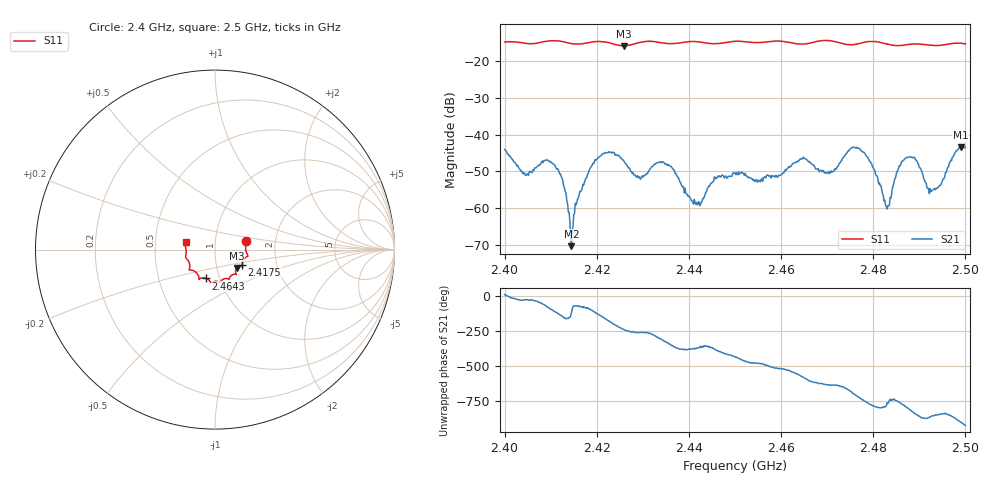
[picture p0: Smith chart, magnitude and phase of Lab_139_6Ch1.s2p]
# Hz S RI R 50
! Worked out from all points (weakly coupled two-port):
!   601 points, 2.4 GHz to 2.5 GHz, reference 50 ohm
!   highest |S21| = -43.43 dB at 2.499 GHz (marker M1); lowest = -70.3 dB at 2.4145 GHz (marker M2)
!   lowest |S11| = -15.9 dB at 2.4258 GHz (marker M3), VSWR 1.38, Z = 62.3 - j13.1 ohm
!   |S11| at or under -10 dB: start of sweep to end of sweep
!   S12 and S22 are empty: the file has one direction only
!   S11 on the Smith chart (normalised r, x): 2.4 GHz: 1.41, +0.14; 2.4175 GHz: 1.33, -0.23; 2.4643 GHz: 0.86, -0.28; 2.5 GHz: 0.72, +0.06
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2.4e9  0.1729 0.0484  0.00613 0.00126  0 0  0 0
2.404333e9  0.1716 0.0229  0.00268 -0.00131  0 0  0 0
2.411e9  0.1839 -0.0356  -0.00145 -0.00345  0 0  0 0
2.412833e9  0.1761 -0.04  -0.00173 -0.000977  0 0  0 0
2.4145e9  0.1632 -0.0503  -0.000146 -0.000269  0 0  0 0
2.416667e9  0.1525 -0.0741  0.000402 -0.0017  0 0  0 0
2.4175e9  0.1514 -0.0838  0.000273 -0.00243  0 0  0 0
2.4215e9  0.1534 -0.0964  -0.00489 -0.00247  0 0  0 0
2.425833e9  0.1219 -0.1027  -0.00233 0.00377  0 0  0 0
2.429e9  0.1153 -0.1317  -0.000376 0.00259  0 0  0 0
2.433333e9  0.1136 -0.1374  0.00198 0.00366  0 0  0 0
2.442e9  0.0744 -0.1649  0.00116 -0.000198  0 0  0 0
2.45e9  0.0286 -0.1814  0.000893 -0.00288  0 0  0 0
2.464333e9  -0.0497 -0.1606  -0.00395 0.00257  0 0  0 0
2.466667e9  -0.0761 -0.1587  -0.00127 0.00378  0 0  0 0
2.471e9  -0.088 -0.1635  0.000398 0.00306  0 0  0 0
2.476833e9  -0.1253 -0.1157  0.00647 -0.000307  0 0  0 0
2.483333e9  -0.1404 -0.0899  0.000837 -0.000684  0 0  0 0
2.486833e9  -0.154 -0.0556  0.00184 -0.00426  0 0  0 0
2.492667e9  -0.1609 -0.0183  -0.00129 -0.00113  0 0  0 0
2.499e9  -0.1689 0.0382  -0.00673 0.000205  0 0  0 0
2.5e9  -0.1643 0.0431  -0.00604 0.0029  0 0  0 0
